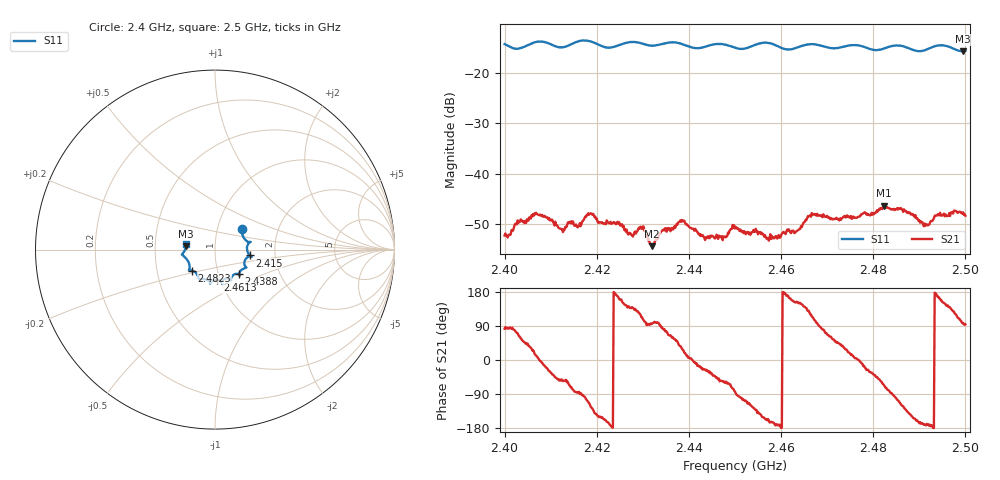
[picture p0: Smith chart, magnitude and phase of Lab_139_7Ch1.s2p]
# Hz S RI R 50
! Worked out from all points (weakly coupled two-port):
!   601 points, 2.4 GHz to 2.5 GHz, reference 50 ohm
!   highest |S21| = -46.28 dB at 2.4823 GHz (marker M1); lowest = -54.3 dB at 2.432 GHz (marker M2)
!   lowest |S11| = -15.8 dB at 2.4995 GHz (marker M3), VSWR 1.39, Z = 36.1 + j1.51 ohm
!   |S11| at or under -10 dB: start of sweep to end of sweep
!   S12 and S22 are empty: the file has one direction only
!   S11 on the Smith chart (normalised r, x): 2.4 GHz: 1.32, +0.32; 2.415 GHz: 1.48, -0.10; 2.4388 GHz: 1.25, -0.35; 2.4613 GHz: 0.97, -0.34; 2.4823 GHz: 0.75, -0.18; 2.5 GHz: 0.72, +0.04
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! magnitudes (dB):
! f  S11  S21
! 2.4 GHz  -14.3  -52.2
! 2.4067 GHz  -14.0  -48.0
! 2.4125 GHz  -15.0  -50.9
! 2.415 GHz  -14.1  -49.9
! 2.4167 GHz  -13.7  -50.0
! 2.4187 GHz  -13.8  -47.8
! 2.4273 GHz  -13.9  -51.8
! 2.4297 GHz  -14.2  -50.7
! 2.432 GHz  -14.7  -54.3
! 2.4333 GHz  -14.5  -52.6
! 2.4388 GHz  -14.4  -49.2
! 2.444 GHz  -14.7  -52.4
! 2.45 GHz  -15.0  -50.8
! 2.4573 GHz  -14.1  -53.2
! 2.4613 GHz  -15.4  -51.0
! 2.4667 GHz  -14.3  -47.7
! 2.4758 GHz  -14.5  -48.7
! 2.4823 GHz  -15.2  -46.3
! 2.4833 GHz  -14.9  -46.8
! 2.4915 GHz  -15.4  -50.0
! 2.4995 GHz  -15.8  -47.6
! 2.5 GHz  -15.7  -48.3
